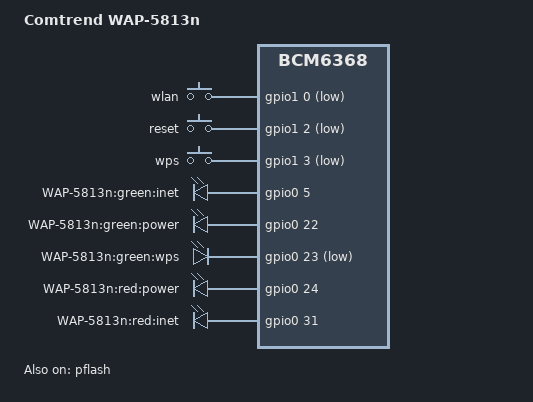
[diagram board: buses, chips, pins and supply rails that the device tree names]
/dts-v1/;

#include "bcm6368.dtsi"

#include <dt-bindings/input/input.h>

/ {
	model = "Comtrend WAP-5813n";
	compatible = "comtrend,wap-5813n", "brcm,bcm6368";

	gpio-keys-polled {
		compatible = "gpio-keys-polled";
		#address-cells = <1>;
		#size-cells = <0>;
		poll-interval = <20>;
		debounce-interval = <60>;

		wlan {
			label = "wlan";
			gpios = <&gpio1 0 1>;
			linux,code = <KEY_WLAN>;
		};
		reset {
			label = "reset";
			gpios = <&gpio1 2 1>;
			linux,code = <KEY_RESTART>;
		};
		wps {
			label = "wps";
			gpios = <&gpio1 3 1>;
			linux,code = <KEY_WPS_BUTTON>;
		};
	};

	gpio-leds {
		compatible = "gpio-leds";

		inet_green {
			label = "WAP-5813n:green:inet";
			gpios = <&gpio0 5 0>;
		};
		power_green {
			label = "WAP-5813n:green:power";
			gpios = <&gpio0 22 0>;
			default-state = "on";
		};
		wps_green {
			label = "WAP-5813n:green:wps";
			gpios = <&gpio0 23 1>;
		};
		power_red {
			label = "WAP-5813n:red:power";
			gpios = <&gpio0 24 0>;
		};
		inet_red {
			label = "WAP-5813n:red:inet";
			gpios = <&gpio0 31 0>;
		};
	};
};

&pflash {
	status = "ok";

	linux,part-probe = "bcm63xxpart";

	cfe@0 {
		label = "CFE";
		reg = <0x000000 0x010000>;
		read-only;
	};

	linux@10000 {
		label = "linux";
		reg = <0x010000 0x7e0000>;
	};

	nvram@7f0000 {
		label = "nvram";
		reg = <0x7f0000 0x010000>;
	};
};
